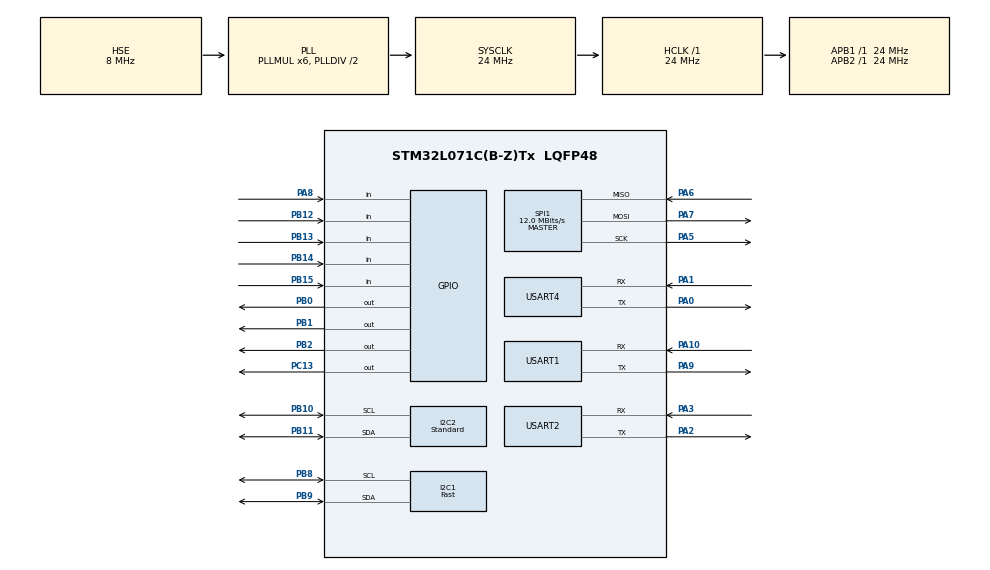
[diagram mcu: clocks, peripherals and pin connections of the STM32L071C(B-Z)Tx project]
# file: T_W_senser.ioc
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Dma.Request0=USART2_RX
Dma.Request1=USART2_TX
Dma.USART2_RX.0.Direction=DMA_PERIPH_TO_MEMORY
Dma.USART2_RX.0.Instance=DMA1_Channel5
Dma.USART2_RX.0.MemDataAlignment=DMA_MDATAALIGN_BYTE
Dma.USART2_RX.0.MemInc=DMA_MINC_ENABLE
Dma.USART2_RX.0.Mode=DMA_NORMAL
Dma.USART2_RX.0.PeriphDataAlignment=DMA_PDATAALIGN_BYTE
Dma.USART2_RX.0.PeriphInc=DMA_PINC_DISABLE
Dma.USART2_RX.0.Priority=DMA_PRIORITY_HIGH
Dma.USART2_TX.1.Direction=DMA_MEMORY_TO_PERIPH
Dma.USART2_TX.1.Instance=DMA1_Channel4
Dma.USART2_TX.1.MemDataAlignment=DMA_MDATAALIGN_BYTE
Dma.USART2_TX.1.MemInc=DMA_MINC_ENABLE
Dma.USART2_TX.1.Mode=DMA_NORMAL
Dma.USART2_TX.1.PeriphDataAlignment=DMA_PDATAALIGN_BYTE
Dma.USART2_TX.1.PeriphInc=DMA_PINC_DISABLE
Dma.USART2_TX.1.Priority=DMA_PRIORITY_HIGH
I2C1.I2C_Speed_Mode=I2C_Fast
I2C1.Timing=0x00200C28
I2C2.I2C_Speed_Mode=I2C_Standard
I2C2.Timing=0x00506682
Mcu.Family=STM32L0
Mcu.Name=STM32L071C(B-Z)Tx
Mcu.Package=LQFP48
NVIC.DMA1_Channel4_5_6_7_IRQn=true\:0\:0\:false\:false\:true\:false\:true
NVIC.USART1_IRQn=true\:0\:0\:false\:false\:true\:true\:true
PA0.Mode=Asynchronous
PA0.Signal=USART4_TX
PA1.Mode=Asynchronous
PA1.Signal=USART4_RX
PA10.Mode=Asynchronous
PA10.Signal=USART1_RX
PA13.Mode=Serial_Wire
PA13.Signal=SYS_SWDIO
PA14.Mode=Serial_Wire
PA14.Signal=SYS_SWCLK
PA2.Mode=Asynchronous
PA2.Signal=USART2_TX
PA3.Mode=Asynchronous
PA3.Signal=USART2_RX
PA4.Signal=SPI1_NSS
PA5.Mode=Full_Duplex_Master
PA5.Signal=SPI1_SCK
PA6.Mode=Full_Duplex_Master
PA6.Signal=SPI1_MISO
PA7.Mode=Full_Duplex_Master
PA7.Signal=SPI1_MOSI
PA8.GPIO_PuPd=GPIO_NOPULL
PA8.Signal=GPIO_Input
PA9.Mode=Asynchronous
PA9.Signal=USART1_TX
PB0.GPIO_PuPd=GPIO_NOPULL
PB0.PinState=GPIO_PIN_SET
PB0.Signal=GPIO_Output
PB1.GPIO_PuPd=GPIO_NOPULL
PB1.PinState=GPIO_PIN_SET
PB1.Signal=GPIO_Output
PB10.Mode=I2C
PB10.Signal=I2C2_SCL
PB11.Mode=I2C
PB11.Signal=I2C2_SDA
PB12.Signal=GPIO_Input
PB13.Signal=GPIO_Input
PB14.Signal=GPIO_Input
PB15.Signal=GPIO_Input
PB2.PinState=GPIO_PIN_SET
PB2.Signal=GPIO_Output
PB8.Mode=I2C
PB8.Signal=I2C1_SCL
PB9.Mode=I2C
PB9.Signal=I2C1_SDA
PC13.Signal=GPIO_Output
PC14-OSC32_IN.Mode=LSE-External-Oscillator
PC14-OSC32_IN.Signal=RCC_OSC32_IN
PC15-OSC32_OUT.Mode=LSE-External-Oscillator
PC15-OSC32_OUT.Signal=RCC_OSC32_OUT
PH0-OSC_IN.Mode=HSE-External-Oscillator
PH0-OSC_IN.Signal=RCC_OSC_IN
PH1-OSC_OUT.Mode=HSE-External-Oscillator
PH1-OSC_OUT.Signal=RCC_OSC_OUT
ProjectManager.HeapSize=0x200
ProjectManager.StackSize=0x400
ProjectManager.TargetToolchain=MDK-ARM V5.27
RCC.AHBFreq_Value=24000000
RCC.APB1Freq_Value=24000000
RCC.APB1TimFreq_Value=24000000
RCC.APB2Freq_Value=24000000
RCC.APB2TimFreq_Value=24000000
RCC.HCLKFreq_Value=24000000
RCC.HSE_VALUE=8000000
RCC.HSI16_VALUE=16000000
RCC.HSI_VALUE=16000000
RCC.I2c1ClockSelection=RCC_I2C1CLKSOURCE_SYSCLK
RCC.MSI_VALUE=2097000
RCC.PLLMUL=RCC_PLLMUL_6
RCC.PLLSourceVirtual=RCC_PLLSOURCE_HSE
RCC.SYSCLKFreq_VALUE=24000000
RCC.SYSCLKSource=RCC_SYSCLKSOURCE_PLLCLK
RCC.Usart1ClockSelection=RCC_USART1CLKSOURCE_SYSCLK
RCC.Usart2ClockSelection=RCC_USART2CLKSOURCE_SYSCLK
RCC.VCOOutputFreq_Value=48000000
SPI1.BaudRatePrescaler=SPI_BAUDRATEPRESCALER_2
SPI1.CalculateBaudRate=12.0 MBits/s
SPI1.Direction=SPI_DIRECTION_2LINES
SPI1.Mode=SPI_MODE_MASTER
SPI1.VirtualType=VM_MASTER
USART1.VirtualMode-Asynchronous=VM_ASYNC
USART2.VirtualMode-Asynchronous=VM_ASYNC
USART4.VirtualMode-Asynchronous=VM_ASYNC
VP_TIM2_VS_ClockSourceINT.Mode=Internal
VP_TIM3_VS_ClockSourceINT.Mode=Internal
board=custom

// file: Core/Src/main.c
/* USER CODE BEGIN Header */
/**
  ******************************************************************************
  * @file           : main.c
  * @brief          : Main program body
  ******************************************************************************
  * @attention
  *
  * <h2><center>&copy; Copyright (c) 2021 STMicroelectronics.
  * All rights reserved.</center></h2>
  *
  * This software component is licensed by ST under BSD 3-Clause license,
  * the "License"; You may not use this file except in compliance with the
  * License. You may obtain a copy of the License at:
  *                        opensource.org/licenses/BSD-3-Clause
  *
  ******************************************************************************
  */
/* USER CODE END Header */
#include "main.h"
#include "dma.h"
#include "i2c.h"
#include "spi.h"
#include "tim.h"
#include "usart.h"
#include "gpio.h"

/* USER CODE BEGIN Includes */
#include "Stdio.h"
#include "oled.h"
#include "WS2812.h"
#include "String.h"
#include "sht30.h"
#include "KEY.h"
#include "protocol.h"
#include "system.h"
#include "mcu_api.h"
#include "wifi.h"
#include "LED.h"

/* USER CODE END Includes */

/* USER CODE BEGIN PD */
#ifdef __GNUC__
  /* With GCC/RAISONANCE, small printf (option LD Linker->Libraries->Small printf
     set to 'Yes') calls __io_putchar() */
  #define PUTCHAR_PROTOTYPE int __io_putchar(int ch)
#else
  #define PUTCHAR_PROTOTYPE int fputc(int ch, FILE *f)
#endif /* __GNUC__ */
/**
  * @brief  Retargets the C library printf function to the USART.
  * @param  None
  * @retval None
  */
PUTCHAR_PROTOTYPE
{
	HAL_UART_Transmit(&huart2, (uint8_t *)&ch, 1, 0xFFFF);

	return ch;
}
/* USER CODE END PD */

/* USER CODE BEGIN PV */
  uint8_t value;
 float CTtemperature = 0.0;
 float CThumidity = 0.0;
/* USER CODE END PV */

void SystemClock_Config(void);

int main(void)
                                                                                      {

  /* MCU Configuration--------------------------------------------------------*/

  /* Reset of all peripherals, Initializes the Flash interface and the Systick. */
  HAL_Init();

  /* Configure the system clock */
  SystemClock_Config();

  /* Initialize all configured peripherals */
  MX_GPIO_Init();
  MX_DMA_Init();
  MX_I2C2_Init();
  MX_TIM2_Init();
  MX_TIM3_Init();
  MX_USART1_UART_Init();
  MX_USART2_UART_Init();
  MX_USART4_UART_Init();
  MX_I2C1_Init();
  MX_SPI1_Init();
  /* USER CODE BEGIN 2 */
	wifi_protocol_init();
	LED_BLUE();
	HAL_UART_Receive_IT(&huart1,&value,1);
  OLED_Init();
	OLED_DrawBMP(0,0,128,8,BMP0);
	HAL_Delay(800);
	OLED_CLS();
	//SHT30_Init();
	SHT30_Reset();
    if(SHT30_Init() == HAL_OK)
		{
			printf("sht30 init ok.\n");
		  OLED_ShowStr(0, 0,"sht30 init ok.", 2);//显示字符串
		  HAL_Delay(3000);
		  OLED_CLS();
		}
    else
    {
			printf("sht30 init fail.\n");
		  OLED_ShowStr(0, 0,"sht30 init fail.", 2);//显示字符串
		  HAL_Delay(3000);
		  OLED_CLS();
		}

  /* USER CODE END 2 */

  /* Infinite loop */
  /* USER CODE BEGIN WHILE */
  while (1)
  {
		wifi_uart_service();

		uint8_t recv_dat[6] = {0};
    float temperature = 0.0;
    float humidity = 0.0;
    uint8_t temp[16] = {0};
    uint8_t humi[16] = {0};
		if (Key_Scan(GPIOA, GPIO_PIN_8 )== 0)
        {
            /* code */
					HAL_Delay(20);
					OLED_DrawBMP(0,0,128,8,BMP1);
					HAL_Delay(3000);
	        OLED_CLS();
          //continue;
        }
    if (Key_Scan(GPIOB, GPIO_PIN_15) == 0)
        {
				printf("It's show time!\n");
				printf("Have your fun!\n");
				//OLED_ShowStr(0, 6,"It's show time!", 2);
        OLED_ShowStr(0, 6,"Have your fun!", 2);
         }
		if (Key_Scan(GPIOB, GPIO_PIN_14) == 0)
        {
            /* code */
					   HAL_Delay(20);
             mcu_reset_wifi();
					if(mcu_get_reset_wifi_flag() == 1)
					{
						LED_GREEN_BL();//WIFI复位成功绿慢闪
					}
          else
          {
					  LED_GREEN_BF();//WIFI复位绿急闪
					}

        }
    if (Key_Scan(GPIOB, GPIO_PIN_13) == 0)
        {
          HAL_Delay(20);
					mcu_set_wifi_mode(SMART_CONFIG);
          if(mcu_get_wifimode_flag() == 1)
					{
						LED_RED_BL();//设置wifi状态成功红慢闪
					}	else
          {
					  LED_RED_BF();//设置wifi状态失败红急闪
          }
        }
		if (Key_Scan(GPIOB, GPIO_PIN_12) == 0)
        {
          HAL_Delay(20);
					mcu_start_wifitest();

        }

    /* USER CODE END WHILE */

    /* USER CODE BEGIN 3 */
		switch(mcu_get_wifi_work_state())
         {
					case SMART_CONFIG_STATE:
						OLED_ShowStr(0, 0,"SMART MODE!", 2);//显示字符串//smart config ? ? ? ? LED ? ? ,led? ? ? ? ? ? ? ?
          break;
          case AP_STATE:
          OLED_ShowStr(0, 0,"AP MODE!", 2);//AP? ? ? ? LED? ?
          break;
          case WIFI_NOT_CONNECTED:
          OLED_ShowStr(0, 0,"WiFi CONNECT..", 2);//Wi-Fi ? ? ? ?, ? ? ? ? ? ? ?, LED? ?

          break;
          case WIFI_CONNECTED:
          OLED_ShowStr(0, 0,"WiFi CONNECTED!", 2);//? ? ? ? ? ? ? LED? ?
          break;
          default:
						break;
				}
		      HAL_Delay(3000);
		      if(SHT30_Read_Dat(recv_dat) == HAL_OK)
          {
						if(SHT30_Dat_To_Float(recv_dat, &temperature, &humidity)==0)
            {
						printf("temperature = %f, humidity = %f\n", temperature, humidity);
						sprintf((char *)temp, "temp:%0.2f", temperature);
						sprintf((char *)humi, "humi:%0.2f", humidity);
						OLED_ShowStr(0, 2,temp, 2);//显示字符串
					  OLED_ShowStr(0, 4,humi, 2);//显示字符串
				    CTtemperature = temperature*10;
						CThumidity = humidity ;
						all_data_update();

            }
            else
            {
                printf("crc check fail.\n");
            }
           }
         else
        {
            printf("read data from sht30 fail.\n");
        }

  }
  /* USER CODE END 3 */
}

void SystemClock_Config(void)
{
  RCC_OscInitTypeDef RCC_OscInitStruct = {0};
  RCC_ClkInitTypeDef RCC_ClkInitStruct = {0};
  RCC_PeriphCLKInitTypeDef PeriphClkInit = {0};

  /** Configure the main internal regulator output voltage
  */
  __HAL_PWR_VOLTAGESCALING_CONFIG(PWR_REGULATOR_VOLTAGE_SCALE1);
  /** Initializes the RCC Oscillators according to the specified parameters
  * in the RCC_OscInitTypeDef structure.
  */
  RCC_OscInitStruct.OscillatorType = RCC_OSCILLATORTYPE_HSE;
  RCC_OscInitStruct.HSEState = RCC_HSE_ON;
  RCC_OscInitStruct.PLL.PLLState = RCC_PLL_ON;
  RCC_OscInitStruct.PLL.PLLSource = RCC_PLLSOURCE_HSE;
  RCC_OscInitStruct.PLL.PLLMUL = RCC_PLLMUL_6;
  RCC_OscInitStruct.PLL.PLLDIV = RCC_PLLDIV_2;
  if (HAL_RCC_OscConfig(&RCC_OscInitStruct) != HAL_OK)
  {
    Error_Handler();
  }
  /** Initializes the CPU, AHB and APB buses clocks
  */
  RCC_ClkInitStruct.ClockType = RCC_CLOCKTYPE_HCLK|RCC_CLOCKTYPE_SYSCLK
                              |RCC_CLOCKTYPE_PCLK1|RCC_CLOCKTYPE_PCLK2;
  RCC_ClkInitStruct.SYSCLKSource = RCC_SYSCLKSOURCE_PLLCLK;
  RCC_ClkInitStruct.AHBCLKDivider = RCC_SYSCLK_DIV1;
  RCC_ClkInitStruct.APB1CLKDivider = RCC_HCLK_DIV1;
  RCC_ClkInitStruct.APB2CLKDivider = RCC_HCLK_DIV1;

  if (HAL_RCC_ClockConfig(&RCC_ClkInitStruct, FLASH_LATENCY_1) != HAL_OK)
  {
    Error_Handler();
  }
  PeriphClkInit.PeriphClockSelection = RCC_PERIPHCLK_USART1|RCC_PERIPHCLK_USART2
                              |RCC_PERIPHCLK_I2C1;
  PeriphClkInit.Usart1ClockSelection = RCC_USART1CLKSOURCE_SYSCLK;
  PeriphClkInit.Usart2ClockSelection = RCC_USART2CLKSOURCE_SYSCLK;
  PeriphClkInit.I2c1ClockSelection = RCC_I2C1CLKSOURCE_SYSCLK;
  if (HAL_RCCEx_PeriphCLKConfig(&PeriphClkInit) != HAL_OK)
  {
    Error_Handler();
  }
}

/* USER CODE BEGIN 4 */
void HAL_UART_RxCpltCallback(UART_HandleTypeDef *huart)
{
  /* Prevent unused argument(s) compilation warning */
  UNUSED(huart);

  /* NOTE : This function should not be modified, when the callback is needed,
            the HAL_UART_RxCpltCallback can be implemented in the user file.
   */
	//uint8_t value;
	HAL_UART_Receive_IT(&huart1,&value,1);
	uart_receive_input(value);
}
/* USER CODE END 4 */

void Error_Handler(void)
{
  __disable_irq();
  while (1)
  {
  }
}

/************************ (C) COPYRIGHT STMicroelectronics *****END OF FILE****/
